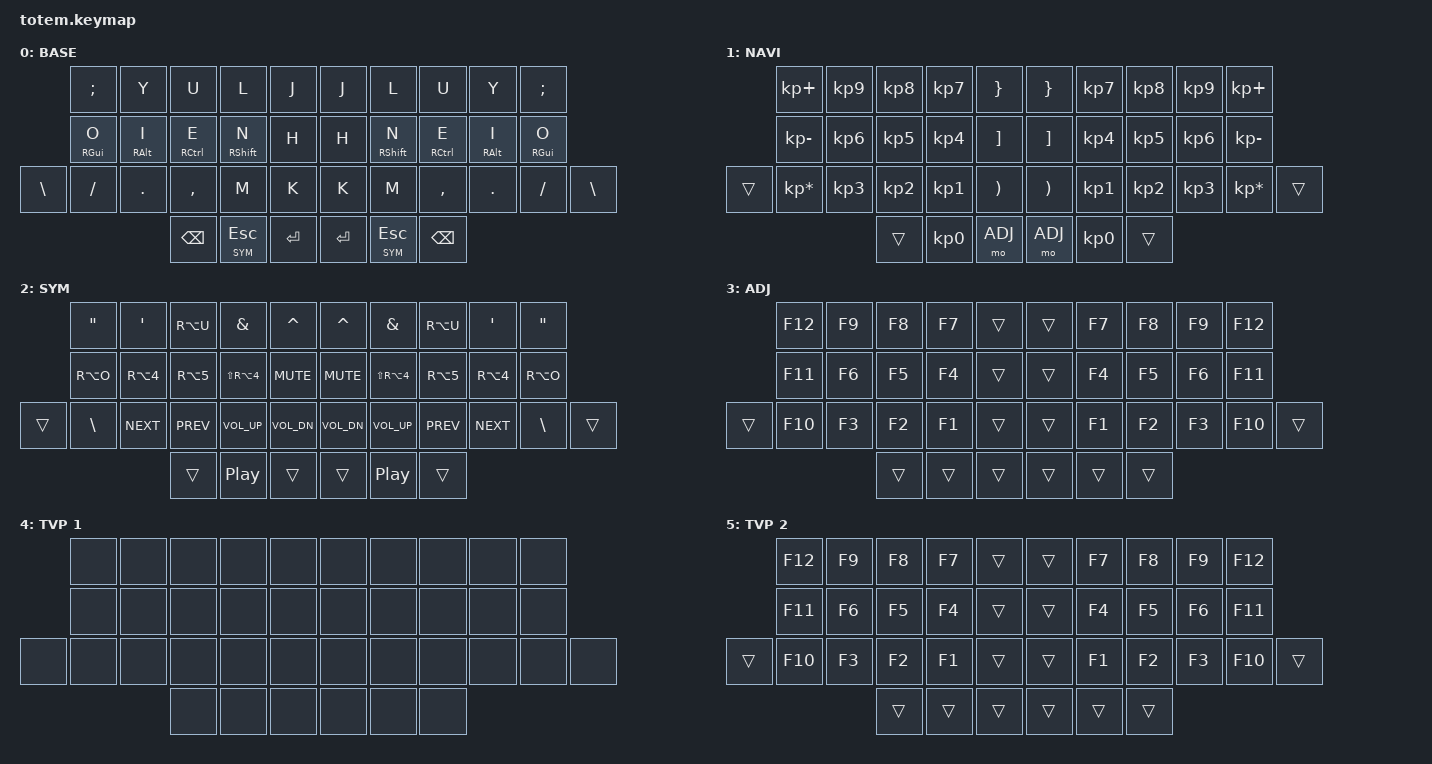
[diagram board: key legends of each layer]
//
//                                                        ▀▀▀▀▀     ▀▀▀▀▀          ▀▀█▀▀
//                                                        ▄▀▀▀▄  ▄  ▄▀▀▀▄  ▄  ▄▀▀▀▄  █  ▄▀▀▀▄
//                                                        █   █  █  █   █  █  █   █  █  █   █
//                                                         ▀▀▀   █   ▀▀▀   █   ▀▀▀   ▀   ▀▀▀
//                                                               █      ▄▄▄█▄▄▄    █   █  
//                                                               ▀      █  █  █     █▄█
//                                                             ▀▀▀▀▀    █  █  █      ▀
//                                                                      ▀  ▀  ▀
//
// ▄▄▄▄▄▄▄▄▄▄▄▄▄▄▄▄▄▄▄▄▄▄▄▄▄▄▄▄▄▄▄▄▄▄▄▄▄▄▄▄▄▄▄▄▄▄▄▄▄▄▄▄▄▄▄▄▄▄▄▄▄▄▄▄▄▄▄▄▄▄▄▄▄▄▄▄▄▄▄▄▄▄▄▄▄▄▄▄▄▄▄▄▄▄▄▄▄▄▄▄▄▄▄▄▄▄▄▄▄▄▄▄▄▄▄▄▄▄▄▄▄▄▄▄▄▄▄▄▄▄▄▄▄▄▄▄▄▄▄▄▄▄▄▄▄▄▄▄▄
       

#include <behaviors.dtsi>
#include <dt-bindings/zmk/keys.h>
#include <dt-bindings/zmk/bt.h>
#include <dt-bindings/zmk/outputs.h>

#define BASE 0
#define NAV  1
#define SYM  2
#define ADJ  3
#define TVP1 4
#define TVP2 5

&mt {
  quick-tap-ms = <100>;
  global-quick-tap;
  flavor = "tap-preferred";
  tapping-term-ms = <170>;
};

/ {
     combos {
            compatible = "zmk,combos";
            combo_esc {
                timeout-ms = <50>;
                key-positions = <0 1>;
                bindings = <&kp ESC>;
            };
            combo_tvp {
                timeout-ms = <100>;
                key-positions = <11 12 13>;
                bindings = <&tog TVP1>;
            };
    };

    macros {
        gif: gif {
            label = "giphy";
            compatible = "zmk,behavior-macro";
            #binding-cells = <0>;
            bindings
                = <&macro_press &kp LSHFT>
                , <&macro_tap &kp N2>
                , <&macro_release &kp LSHFT>
                , <&macro_tap &kp G &kp I &kp F>
                ;
        };
    };

        keymap {
                compatible = "zmk,keymap";
// ▄▄▄▄▄▄▄▄▄▄▄▄▄▄▄▄▄▄▄▄▄▄▄▄▄▄▄▄▄▄▄▄▄▄▄▄▄▄▄▄▄▄▄▄▄▄▄▄▄▄▄▄▄▄▄▄▄▄▄▄▄▄▄▄▄▄▄▄▄▄▄▄▄▄▄▄▄▄▄▄▄▄▄▄▄▄▄▄▄▄▄▄▄▄▄▄▄▄▄▄▄▄▄▄▄▄▄▄▄▄▄▄▄▄▄▄▄▄▄▄▄▄▄▄▄▄▄▄▄▄▄▄▄▄▄▄▄▄▄▄▄▄▄▄▄▄▄▄▄

                base_layer {
// ┏━━━━━━━━━━━━━━━━━━━━━━━━━━━━━━━━━━━━━━━┓
label= "BASE"                              ;
// ┗━━━━━━━━━━━━━━━━━━━━━━━━━━━━━━━━━━━━━━━┛
//             ┏━━━━━━━━━━━┳━━━━━━━━━━━┳━━━━━━━━━━━┳━━━━━━━━━━━┳━━━━━━━━━━━┓   ┏━━━━━━━━━━━┳━━━━━━━━━━━┳━━━━━━━━━━━┳━━━━━━━━━━━┳━━━━━━━━━━━┓
//             ┃     Q     ┃     W     ┃     F     ┃     P     ┃     G     ┃   ┃     J     ┃     L     ┃     U     ┃     Y     ┃     ;     ┃
//             ┣━━━━━━━━━━━╋━━━━━━━━━━━╋━━━━━━━━━━━╋━━━━━━━━━━━╋━━━━━━━━━━━┫   ┣━━━━━━━━━━━╋━━━━━━━━━━━╋━━━━━━━━━━━╋━━━━━━━━━━━╋━━━━━━━━━━━┫
//             ┃     A     ┃     R     ┃     S     ┃     T     ┃     D     ┃   ┃     H     ┃     N     ┃     E     ┃     I     ┃     O     ┃
// ┏━━━━━━━━━━━╋━━━━━━━━━━━╋━━━━━━━━━━━╋━━━━━━━━━━━╋━━━━━━━━━━━╋━━━━━━━━━━━┫   ┣━━━━━━━━━━━╋━━━━━━━━━━━╋━━━━━━━━━━━╋━━━━━━━━━━━╋━━━━━━━━━━━╋━━━━━━━━━━━┓
// ┃     Q     ┃     Z     ┃     X     ┃     C     ┃     V     ┃     B     ┃   ┃     K     ┃     M     ┃     ,     ┃     .     ┃     /     ┃     \     ┃
// ┗━━━━━━━━━━━┻━━━━━━━━━━━┻━━━━━━━━━━━╋━━━━━━━━━━━╋━━━━━━━━━━━╋━━━━━━━━━━━┫   ┣━━━━━━━━━━━╋━━━━━━━━━━━╋━━━━━━━━━━━╋━━━━━━━━━━━┻━━━━━━━━━━━┻━━━━━━━━━━━┛
//                                     ┃    DEL    ┃    TAB    ┃    SPC    ┃   ┃   ENTER   ┃           ┃   BSPC    ┃
//                                     ┗━━━━━━━━━━━┻━━━━━━━━━━━┻━━━━━━━━━━━┛   ┗━━━━━━━━━━━┻━━━━━━━━━━━┻━━━━━━━━━━━┛
 bindings = <
// ╷           ╷           ╷           ╷           ╷           ╷           ╷   ╷           ╷           ╷           ╷           ╷           ╷           ╷

                &kp SEMI       &kp Y       &kp U       &kp L       &kp J        &kp J       &kp L       &kp U       &kp Y       &kp SEMI
                  &mt RGUI O  &mt RALT I  &mt RCTRL E &mt RSHFT N  &kp H        &kp H       &mt RSHFT N &mt RCTRL E &mt RALT I  &mt RGUI O
     &kp BSLH   &kp FSLH    &kp DOT     &kp COMMA    &kp M         &kp K        &kp K       &kp M       &kp COMMA   &kp DOT     &kp FSLH    &kp BSLH
                                        &kp BSPC    &lt SYM ESC  &kp RET        &kp RET     &lt SYM ESC   &kp BSPC
                        >;
                };

// ▄▄▄▄▄▄▄▄▄▄▄▄▄▄▄▄▄▄▄▄▄▄▄▄▄▄▄▄▄▄▄▄▄▄▄▄▄▄▄▄▄▄▄▄▄▄▄▄▄▄▄▄▄▄▄▄▄▄▄▄▄▄▄▄▄▄▄▄▄▄▄▄▄▄▄▄▄▄▄▄▄▄▄▄▄▄▄▄▄▄▄▄▄▄▄▄▄▄▄▄▄▄▄▄▄▄▄▄▄▄▄▄▄▄▄▄▄▄▄▄▄▄▄▄▄▄▄▄▄▄▄▄▄▄▄▄▄▄▄▄▄▄▄▄▄▄▄▄▄


                nav_layer {
// ┏━━━━━━━━━━━━━━━━━━━━━━━━━━━━━━━━━━━━━━━┓
label= "NAVI"                              ;
// ┗━━━━━━━━━━━━━━━━━━━━━━━━━━━━━━━━━━━━━━━┛
//             ┏━━━━━━━━━━━┳━━━━━━━━━━━┳━━━━━━━━━━━┳━━━━━━━━━━━┳━━━━━━━━━━━┓   ┏━━━━━━━━━━━┳━━━━━━━━━━━┳━━━━━━━━━━━┳━━━━━━━━━━━┳━━━━━━━━━━━┓
//             ┃           ┃           ┃     UP    ┃           ┃     {     ┃   ┃     }     ┃     7     ┃     8     ┃     9     ┃     +     ┃
//             ┣━━━━━━━━━━━╋━━━━━━━━━━━╋━━━━━━━━━━━╋━━━━━━━━━━━╋━━━━━━━━━━━┫   ┣━━━━━━━━━━━╋━━━━━━━━━━━╋━━━━━━━━━━━╋━━━━━━━━━━━╋━━━━━━━━━━━┫
//             ┃   SHIFT   ┃   LEFT    ┃    DOWN   ┃   RIGHT   ┃     [     ┃   ┃     ]     ┃     4     ┃     5     ┃     6     ┃     -     ┃
// ┏━━━━━━━━━━━╋━━━━━━━━━━━╋━━━━━━━━━━━╋━━━━━━━━━━━╋━━━━━━━━━━━╋━━━━━━━━━━━┫   ┣━━━━━━━━━━━╋━━━━━━━━━━━╋━━━━━━━━━━━╋━━━━━━━━━━━╋━━━━━━━━━━━╋━━━━━━━━━━━┓
// ┃           ┃           ┃   P UP    ┃  C LOCK   ┃  P DOWN   ┃     (     ┃   ┃     )     ┃     1     ┃     2     ┃     3     ┃     *     ┃           ┃
// ┗━━━━━━━━━━━┻━━━━━━━━━━━┻━━━━━━━━━━━╋━━━━━━━━━━━╋━━━━━━━━━━━╋━━━━━━━━━━━┫   ┣━━━━━━━━━━━╋━━━━━━━━━━━╋━━━━━━━━━━━╋━━━━━━━━━━━┻━━━━━━━━━━━┻━━━━━━━━━━━┛
//                                     ┃           ┃    TAB    ┃    SPC    ┃   ┃    DEL    ┃     0     ┃           ┃
//                                     ┗━━━━━━━━━━━┻━━━━━━━━━━━┻━━━━━━━━━━━┛   ┗━━━━━━━━━━━┻━━━━━━━━━━━┻━━━━━━━━━━━┛
 bindings = <
// ╷           ╷           ╷           ╷           ╷           ╷           ╷   ╷           ╷           ╷           ╷           ╷           ╷           ╷

                &kp KP_PLUS &kp KP_N9   &kp KP_N8   &kp KP_N7   &kp RBRC        &kp RBRC    &kp KP_N7   &kp KP_N8   &kp KP_N9   &kp KP_PLUS
                &kp KP_MINUS &kp KP_N6  &kp KP_N5   &kp KP_N4   &kp RBKT        &kp RBKT    &kp KP_N4   &kp KP_N5   &kp KP_N6   &kp KP_MINUS
    &trans      &kp KP_MULTIPLY &kp KP_N3 &kp KP_N2 &kp KP_N1   &kp RPAR        &kp RPAR    &kp KP_N1   &kp KP_N2   &kp KP_N3   &kp KP_MULTIPLY &trans      
                                        &trans      &kp KP_N0   &mo ADJ         &mo ADJ     &kp KP_N0   &trans      
                        >;
                };

// ▄▄▄▄▄▄▄▄▄▄▄▄▄▄▄▄▄▄▄▄▄▄▄▄▄▄▄▄▄▄▄▄▄▄▄▄▄▄▄▄▄▄▄▄▄▄▄▄▄▄▄▄▄▄▄▄▄▄▄▄▄▄▄▄▄▄▄▄▄▄▄▄▄▄▄▄▄▄▄▄▄▄▄▄▄▄▄▄▄▄▄▄▄▄▄▄▄▄▄▄▄▄▄▄▄▄▄▄▄▄▄▄▄▄▄▄▄▄▄▄▄▄▄▄▄▄▄▄▄▄▄▄▄▄▄▄▄▄▄▄▄▄▄▄▄▄▄▄▄


                sim_layer {
// ┏━━━━━━━━━━━━━━━━━━━━━━━━━━━━━━━━━━━━━━━┓
label= "SYM"                               ;
// ┗━━━━━━━━━━━━━━━━━━━━━━━━━━━━━━━━━━━━━━━┛
//             ┏━━━━━━━━━━━┳━━━━━━━━━━━┳━━━━━━━━━━━┳━━━━━━━━━━━┳━━━━━━━━━━━┓   ┏━━━━━━━━━━━┳━━━━━━━━━━━┳━━━━━━━━━━━┳━━━━━━━━━━━┳━━━━━━━━━━━┓
//             ┃     !     ┃     @     ┃     #     ┃     $     ┃     %     ┃   ┃     ˆ     ┃     &     ┃     Ü     ┃     '     ┃     "     ┃
//             ┣━━━━━━━━━━━╋━━━━━━━━━━━╋━━━━━━━━━━━╋━━━━━━━━━━━╋━━━━━━━━━━━┫   ┣━━━━━━━━━━━╋━━━━━━━━━━━╋━━━━━━━━━━━╋━━━━━━━━━━━╋━━━━━━━━━━━┫
//             ┃     Ä     ┃           ┃    SZ     ┃           ┃           ┃   ┃   MUTE    ┃   YEN     ┃   EURO    ┃  POUND    ┃     Ö     ┃
// ┏━━━━━━━━━━━╋━━━━━━━━━━━╋━━━━━━━━━━━╋━━━━━━━━━━━╋━━━━━━━━━━━╋━━━━━━━━━━━┫   ┣━━━━━━━━━━━╋━━━━━━━━━━━╋━━━━━━━━━━━╋━━━━━━━━━━━╋━━━━━━━━━━━╋━━━━━━━━━━━┓
// ┃           ┃  EMAIL1   ┃  EMAIL2   ┃           ┃           ┃           ┃   ┃   VOL-    ┃   VOL+    ┃   LAST    ┃   NEXT    ┃     \     ┃           ┃
// ┗━━━━━━━━━━━┻━━━━━━━━━━━┻━━━━━━━━━━━╋━━━━━━━━━━━╋━━━━━━━━━━━╋━━━━━━━━━━━┫   ┣━━━━━━━━━━━╋━━━━━━━━━━━╋━━━━━━━━━━━╋━━━━━━━━━━━┻━━━━━━━━━━━┻━━━━━━━━━━━┛
//                                     ┃           ┃    GIF    ┃    ADJ    ┃   ┃           ┃           ┃           ┃
//                                     ┗━━━━━━━━━━━┻━━━━━━━━━━━┻━━━━━━━━━━━┛   ┗━━━━━━━━━━━┻━━━━━━━━━━━┻━━━━━━━━━━━┛
 bindings = <
// ╷           ╷           ╷           ╷           ╷           ╷           ╷   ╷           ╷           ╷           ╷           ╷           ╷           ╷

                &kp DQT     &kp SQT     &kp RA(U)   &kp AMPS    &kp CARET       &kp CARET   &kp AMPS    &kp RA(U)   &kp SQT     &kp DQT       
                &kp RA(O)   &kp RA(N4)  &kp RA(N5)  &kp LS(RA(N4)) &kp C_MUTE   &kp C_MUTE  &kp LS(RA(N4)) &kp RA(N5) &kp RA(N4)   &kp RA(O) 
    &trans      &kp BSLH    &kp C_NEXT  &kp C_PREV  &kp C_VOL_UP &kp C_VOL_DN   &kp C_VOL_DN &kp C_VOL_UP &kp C_PREV &kp C_NEXT  &kp BSLH   &trans         
                                        &trans      &kp C_PP    &trans          &trans      &kp C_PP    &trans      
                        >;
                };

// ▄▄▄▄▄▄▄▄▄▄▄▄▄▄▄▄▄▄▄▄▄▄▄▄▄▄▄▄▄▄▄▄▄▄▄▄▄▄▄▄▄▄▄▄▄▄▄▄▄▄▄▄▄▄▄▄▄▄▄▄▄▄▄▄▄▄▄▄▄▄▄▄▄▄▄▄▄▄▄▄▄▄▄▄▄▄▄▄▄▄▄▄▄▄▄▄▄▄▄▄▄▄▄▄▄▄▄▄▄▄▄▄▄▄▄▄▄▄▄▄▄▄▄▄▄▄▄▄▄▄▄▄▄▄▄▄▄▄▄▄▄▄▄▄▄▄▄▄▄


                adjust_layer {
// ┏━━━━━━━━━━━━━━━━━━━━━━━━━━━━━━━━━━━━━━━┓
label= "ADJ"                               ;
// ┗━━━━━━━━━━━━━━━━━━━━━━━━━━━━━━━━━━━━━━━┛
//             ┏━━━━━━━━━━━┳━━━━━━━━━━━┳━━━━━━━━━━━┳━━━━━━━━━━━┳━━━━━━━━━━━┓   ┏━━━━━━━━━━━┳━━━━━━━━━━━┳━━━━━━━━━━━┳━━━━━━━━━━━┳━━━━━━━━━━━┓
//             ┃   RESET   ┃ BT CLEAR  ┃  OUT TOG  ┃           ┃           ┃   ┃           ┃    F7     ┃    F8     ┃    F9     ┃    F12    ┃
//             ┣━━━━━━━━━━━╋━━━━━━━━━━━╋━━━━━━━━━━━╋━━━━━━━━━━━╋━━━━━━━━━━━┫   ┣━━━━━━━━━━━╋━━━━━━━━━━━╋━━━━━━━━━━━╋━━━━━━━━━━━╋━━━━━━━━━━━┫
//             ┃ BOOTLOAD  ┃ BT NEXT   ┃           ┃           ┃           ┃   ┃           ┃    F4     ┃    F5     ┃    F6     ┃    F11    ┃
// ┏━━━━━━━━━━━╋━━━━━━━━━━━╋━━━━━━━━━━━╋━━━━━━━━━━━╋━━━━━━━━━━━╋━━━━━━━━━━━┫   ┣━━━━━━━━━━━╋━━━━━━━━━━━╋━━━━━━━━━━━╋━━━━━━━━━━━╋━━━━━━━━━━━╋━━━━━━━━━━━┓
// ┃           ┃           ┃ BT PREV   ┃           ┃           ┃           ┃   ┃           ┃    F1     ┃    F2     ┃    F3     ┃    F10    ┃           ┃
// ┗━━━━━━━━━━━┻━━━━━━━━━━━┻━━━━━━━━━━━╋━━━━━━━━━━━╋━━━━━━━━━━━╋━━━━━━━━━━━┫   ┣━━━━━━━━━━━╋━━━━━━━━━━━╋━━━━━━━━━━━╋━━━━━━━━━━━┻━━━━━━━━━━━┻━━━━━━━━━━━┛
//                                     ┃           ┃           ┃           ┃   ┃           ┃           ┃           ┃
//                                     ┗━━━━━━━━━━━┻━━━━━━━━━━━┻━━━━━━━━━━━┛   ┗━━━━━━━━━━━┻━━━━━━━━━━━┻━━━━━━━━━━━┛
 bindings = <
// ╷           ╷           ╷           ╷           ╷           ╷           ╷   ╷           ╷           ╷           ╷           ╷           ╷           ╷

                &kp F12     &kp F9      &kp F8      &kp F7      &trans          &trans      &kp F7      &kp F8      &kp F9      &kp F12
                &kp F11     &kp F6      &kp F5      &kp F4      &trans          &trans      &kp F4      &kp F5      &kp F6      &kp F11  
    &trans      &kp F10     &kp F3      &kp F2      &kp F1      &trans          &trans      &kp F1      &kp F2      &kp F3      &kp F10     &trans         
                                        &trans      &trans      &trans          &trans      &trans      &trans      
                        >;
                };

// ▄▄▄▄▄▄▄▄▄▄▄▄▄▄▄▄▄▄▄▄▄▄▄▄▄▄▄▄▄▄▄▄▄▄▄▄▄▄▄▄▄▄▄▄▄▄▄▄▄▄▄▄▄▄▄▄▄▄▄▄▄▄▄▄▄▄▄▄▄▄▄▄▄▄▄▄▄▄▄▄▄▄▄▄▄▄▄▄▄▄▄▄▄▄▄▄▄▄▄▄▄▄▄▄▄▄▄▄▄▄▄▄▄▄▄▄▄▄▄▄▄▄▄▄▄▄▄▄▄▄▄▄▄▄▄▄▄▄▄▄▄▄▄▄▄▄▄▄▄


                tvp1_layer {
// ┏━━━━━━━━━━━━━━━━━━━━━━━━━━━━━━━━━━━━━━━┓
label= "TVP 1"                             ;
// ┗━━━━━━━━━━━━━━━━━━━━━━━━━━━━━━━━━━━━━━━┛
//             ┏━━━━━━━━━━━┳━━━━━━━━━━━┳━━━━━━━━━━━┳━━━━━━━━━━━┳━━━━━━━━━━━┓   ┏━━━━━━━━━━━┳━━━━━━━━━━━┳━━━━━━━━━━━┳━━━━━━━━━━━┳━━━━━━━━━━━┓
//             ┃ NEXT FILE ┃ MARK IN   ┃ ROTATE    ┃ MARK OUT  ┃ SHOW SNAP ┃   ┃           ┃           ┃           ┃           ┃           ┃
//             ┣━━━━━━━━━━━╋━━━━━━━━━━━╋━━━━━━━━━━━╋━━━━━━━━━━━╋━━━━━━━━━━━┫   ┣━━━━━━━━━━━╋━━━━━━━━━━━╋━━━━━━━━━━━╋━━━━━━━━━━━╋━━━━━━━━━━━┫
//             ┃ TVP II    ┃ LEFT      ┃ PAN       ┃ RIGHT     ┃ PLAY/FLIP ┃   ┃           ┃           ┃           ┃           ┃           ┃
// ┏━━━━━━━━━━━╋━━━━━━━━━━━╋━━━━━━━━━━━╋━━━━━━━━━━━╋━━━━━━━━━━━╋━━━━━━━━━━━┫   ┣━━━━━━━━━━━╋━━━━━━━━━━━╋━━━━━━━━━━━╋━━━━━━━━━━━╋━━━━━━━━━━━╋━━━━━━━━━━━┓
// ┃ FULLSCR   ┃ SHIFT     ┃ COPY      ┃ DELETE    ┃ PASTE     ┃ IMG MARK  ┃   ┃           ┃           ┃           ┃           ┃           ┃           ┃
// ┗━━━━━━━━━━━┻━━━━━━━━━━━┻━━━━━━━━━━━╋━━━━━━━━━━━╋━━━━━━━━━━━╋━━━━━━━━━━━┫   ┣━━━━━━━━━━━╋━━━━━━━━━━━╋━━━━━━━━━━━╋━━━━━━━━━━━┻━━━━━━━━━━━┻━━━━━━━━━━━┛
//                                     ┃           ┃ UNDO/SAVE ┃  SEL/MOV  ┃   ┃           ┃           ┃           ┃
//                                     ┗━━━━━━━━━━━┻━━━━━━━━━━━┻━━━━━━━━━━━┛   ┗━━━━━━━━━━━┻━━━━━━━━━━━┻━━━━━━━━━━━┛
 bindings = <
// ╷           ╷           ╷           ╷           ╷           ╷           ╷   ╷           ╷           ╷           ╷           ╷           ╷           ╷

                &none       &none       &none       &none       &none           &none       &none       &none       &none       &none
                &none       &none       &none       &none       &none           &none       &none       &none       &none       &none
    &none       &none       &none       &none       &none       &none           &none       &none       &none       &none       &none       &none        
                                        &none       &none       &none           &none       &none       &none    
                        >;
                };

// ▄▄▄▄▄▄▄▄▄▄▄▄▄▄▄▄▄▄▄▄▄▄▄▄▄▄▄▄▄▄▄▄▄▄▄▄▄▄▄▄▄▄▄▄▄▄▄▄▄▄▄▄▄▄▄▄▄▄▄▄▄▄▄▄▄▄▄▄▄▄▄▄▄▄▄▄▄▄▄▄▄▄▄▄▄▄▄▄▄▄▄▄▄▄▄▄▄▄▄▄▄▄▄▄▄▄▄▄▄▄▄▄▄▄▄▄▄▄▄▄▄▄▄▄▄▄▄▄▄▄▄▄▄▄▄▄▄▄▄▄▄▄▄▄▄▄▄▄▄


                tvp2_layer {
// ┏━━━━━━━━━━━━━━━━━━━━━━━━━━━━━━━━━━━━━━━┓
label= "TVP 2"                             ;
// ┗━━━━━━━━━━━━━━━━━━━━━━━━━━━━━━━━━━━━━━━┛
//             ┏━━━━━━━━━━━┳━━━━━━━━━━━┳━━━━━━━━━━━┳━━━━━━━━━━━┳━━━━━━━━━━━┓   ┏━━━━━━━━━━━┳━━━━━━━━━━━┳━━━━━━━━━━━┳━━━━━━━━━━━┳━━━━━━━━━━━┓
//             ┃ SOLO      ┃ TOGGLE IN ┃ RESET ROT ┃ TOGGLE OUT┃ TAKE SNAP ┃   ┃           ┃           ┃           ┃           ┃           ┃
//             ┣━━━━━━━━━━━╋━━━━━━━━━━━╋━━━━━━━━━━━╋━━━━━━━━━━━╋━━━━━━━━━━━┫   ┣━━━━━━━━━━━╋━━━━━━━━━━━╋━━━━━━━━━━━╋━━━━━━━━━━━╋━━━━━━━━━━━┫
//             ┃ ---       ┃ LAST KEY  ┃ NEW KEY   ┃ NEXT KEY  ┃ ENTER     ┃   ┃           ┃           ┃           ┃           ┃           ┃
// ┏━━━━━━━━━━━╋━━━━━━━━━━━╋━━━━━━━━━━━╋━━━━━━━━━━━╋━━━━━━━━━━━╋━━━━━━━━━━━┫   ┣━━━━━━━━━━━╋━━━━━━━━━━━╋━━━━━━━━━━━╋━━━━━━━━━━━╋━━━━━━━━━━━╋━━━━━━━━━━━┓
// ┃           ┃ FULLSCR   ┃ CPY2BRUSH ┃ DEL HEAD  ┃ PSTinPLACE┃ BOOK MARK ┃   ┃           ┃           ┃           ┃           ┃           ┃           ┃
// ┗━━━━━━━━━━━┻━━━━━━━━━━━┻━━━━━━━━━━━╋━━━━━━━━━━━╋━━━━━━━━━━━╋━━━━━━━━━━━┫   ┣━━━━━━━━━━━╋━━━━━━━━━━━╋━━━━━━━━━━━╋━━━━━━━━━━━┻━━━━━━━━━━━┻━━━━━━━━━━━┛
//                                     ┃           ┃ REDO/SAV1 ┃TRANS/WARP ┃   ┃           ┃           ┃           ┃
//                                     ┗━━━━━━━━━━━┻━━━━━━━━━━━┻━━━━━━━━━━━┛   ┗━━━━━━━━━━━┻━━━━━━━━━━━┻━━━━━━━━━━━┛
 bindings = <
// ╷           ╷           ╷           ╷           ╷           ╷           ╷   ╷           ╷           ╷           ╷           ╷           ╷           ╷

                &kp F12     &kp F9      &kp F8      &kp F7      &trans          &trans      &kp F7      &kp F8      &kp F9      &kp F12
                &kp F11     &kp F6      &kp F5      &kp F4      &trans          &trans      &kp F4      &kp F5      &kp F6      &kp F11  
    &trans      &kp F10     &kp F3      &kp F2      &kp F1      &trans          &trans      &kp F1      &kp F2      &kp F3      &kp F10     &trans         
                                        &trans      &trans      &trans          &trans      &trans      &trans      
                        >;
                };
        };
};
